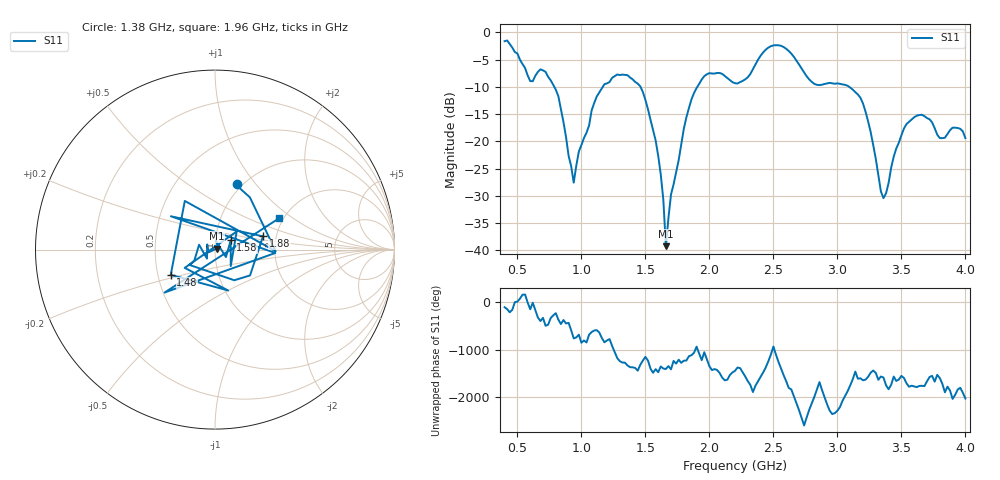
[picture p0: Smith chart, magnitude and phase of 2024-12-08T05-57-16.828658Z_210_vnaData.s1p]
!Created with skrf (http://scikit-rf.org).
# Hz S RI R 50.0
!freq ReS11 ImS11
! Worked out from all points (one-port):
!   181 points, 400 MHz to 4 GHz, reference 50 ohm
!   lowest |S11| = -39.2 dB at 1.66 GHz (marker M1), VSWR 1.02, Z = 50.9 + j0.606 ohm
!   |S11| at or under -10 dB: 787.8 MHz to 1.166 GHz (378.6 MHz wide, 38.7 % of centre); 1.462 GHz to 1.906 GHz (444.4 MHz wide, 26.4 % of centre); 3.091 GHz to end of sweep
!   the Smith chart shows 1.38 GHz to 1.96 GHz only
!   S11 on the Smith chart (normalised r, x): 1.38 GHz: 0.95, +0.81; 1.48 GHz: 0.58, -0.18; 1.58 GHz: 1.19, +0.12; 1.88 GHz: 1.70, +0.27; 1.96 GHz: 1.89, +0.78
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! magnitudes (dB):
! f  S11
! 400 MHz  -1.6
! 600 MHz  -9.0
! 720 MHz  -7.3
! 820 MHz  -11.7
! 860 MHz  -16.5
! 940 MHz  -27.6
! 980 MHz  -21.9
! 1.12 GHz  -11.8
! 1.3 GHz  -7.8
! 1.38 GHz  -8.3
! 1.48 GHz  -10.9
! 1.58 GHz  -19.8
! 1.64 GHz  -30.7
! 1.66 GHz  -39.2
! 1.7 GHz  -29.8
! 1.76 GHz  -23.5
! 1.88 GHz  -11.1
! 1.96 GHz  -8.1
! 2.2 GHz  -9.3
! 2.48 GHz  -2.6
! 2.66 GHz  -4.5
! 2.82 GHz  -9.5
! 3.1 GHz  -10.1
! 3.22 GHz  -14.6
! 3.36 GHz  -30.4
! 3.46 GHz  -21.3
! 3.56 GHz  -16.4
! 4 GHz  -19.4
